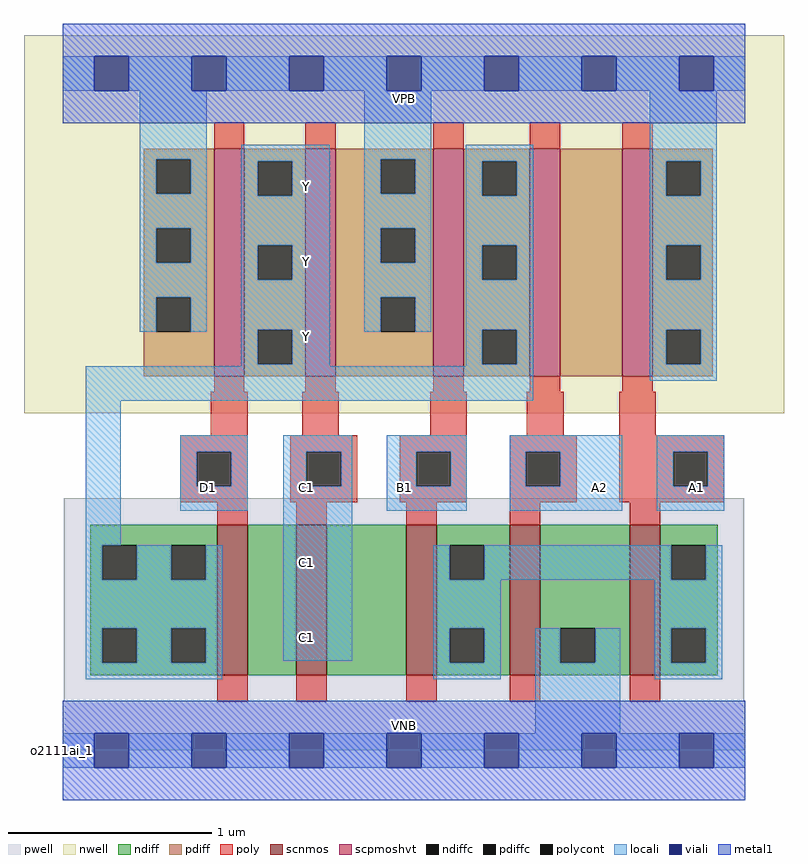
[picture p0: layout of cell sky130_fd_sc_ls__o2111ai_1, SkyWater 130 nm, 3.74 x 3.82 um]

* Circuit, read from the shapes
.subckt sky130_fd_sc_ls__o2111ai_1 A1 A2 B1 C1 D1 VGND VNB VPB VPWR Y
XM1 n1 D1 Y VNB sky130_fd_pr__nfet_01v8 w=0.74 l=0.15
XM2 n2 C1 n1 VNB sky130_fd_pr__nfet_01v8 w=0.74 l=0.15
XM3 n3 B1 n2 VNB sky130_fd_pr__nfet_01v8 w=0.74 l=0.15
XM4 VGND A2 n3 VNB sky130_fd_pr__nfet_01v8 w=0.74 l=0.15
XM5 n3 A1 VGND VNB sky130_fd_pr__nfet_01v8 w=0.74 l=0.15
XM6 Y D1 VPWR VPB sky130_fd_pr__pfet_01v8_hvt w=1.12 l=0.15
XM7 VPWR C1 Y VPB sky130_fd_pr__pfet_01v8_hvt w=1.12 l=0.15
XM8 Y B1 VPWR VPB sky130_fd_pr__pfet_01v8_hvt w=1.12 l=0.15
XM9 n4 A2 Y VPB sky130_fd_pr__pfet_01v8_hvt w=1.12 l=0.15
XM10 VPWR A1 n4 VPB sky130_fd_pr__pfet_01v8_hvt w=1.12 l=0.15
.ends

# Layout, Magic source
magic
tech sky130A
magscale 1 2
<< nwell >>
rect -38 332 710 704
<< pwell >>
rect 1 49 671 248
rect 0 0 672 49
<< scnmos >>
rect 152 74 182 222
rect 230 74 260 222
rect 338 74 368 222
rect 440 74 470 222
rect 558 74 588 222
<< scpmoshvt >>
rect 149 368 179 592
rect 239 368 269 592
rect 365 368 395 592
rect 460 368 490 592
rect 551 368 581 592
<< ndiff >>
rect 27 202 152 222
rect 27 168 39 202
rect 73 168 107 202
rect 141 168 152 202
rect 27 120 152 168
rect 27 86 39 120
rect 73 86 107 120
rect 141 86 152 120
rect 27 74 152 86
rect 182 74 230 222
rect 260 74 338 222
rect 368 202 440 222
rect 368 168 381 202
rect 415 168 440 202
rect 368 120 440 168
rect 368 86 381 120
rect 415 86 440 120
rect 368 74 440 86
rect 470 120 558 222
rect 470 86 490 120
rect 524 86 558 120
rect 470 74 558 86
rect 588 202 645 222
rect 588 168 599 202
rect 633 168 645 202
rect 588 120 645 168
rect 588 86 599 120
rect 633 86 645 120
rect 588 74 645 86
<< pdiff >>
rect 80 582 149 592
rect 80 548 92 582
rect 126 548 149 582
rect 80 514 149 548
rect 80 480 92 514
rect 126 480 149 514
rect 80 446 149 480
rect 80 412 92 446
rect 126 412 149 446
rect 80 368 149 412
rect 179 580 239 592
rect 179 546 192 580
rect 226 546 239 580
rect 179 497 239 546
rect 179 463 192 497
rect 226 463 239 497
rect 179 414 239 463
rect 179 380 192 414
rect 226 380 239 414
rect 179 368 239 380
rect 269 582 365 592
rect 269 548 313 582
rect 347 548 365 582
rect 269 514 365 548
rect 269 480 313 514
rect 347 480 365 514
rect 269 446 365 480
rect 269 412 313 446
rect 347 412 365 446
rect 269 368 365 412
rect 395 580 460 592
rect 395 546 413 580
rect 447 546 460 580
rect 395 497 460 546
rect 395 463 413 497
rect 447 463 460 497
rect 395 414 460 463
rect 395 380 413 414
rect 447 380 460 414
rect 395 368 460 380
rect 490 368 551 592
rect 581 580 640 592
rect 581 546 594 580
rect 628 546 640 580
rect 581 497 640 546
rect 581 463 594 497
rect 628 463 640 497
rect 581 414 640 463
rect 581 380 594 414
rect 628 380 640 414
rect 581 368 640 380
<< ndiffc >>
rect 39 168 73 202
rect 107 168 141 202
rect 39 86 73 120
rect 107 86 141 120
rect 381 168 415 202
rect 381 86 415 120
rect 490 86 524 120
rect 599 168 633 202
rect 599 86 633 120
<< pdiffc >>
rect 92 548 126 582
rect 92 480 126 514
rect 92 412 126 446
rect 192 546 226 580
rect 192 463 226 497
rect 192 380 226 414
rect 313 548 347 582
rect 313 480 347 514
rect 313 412 347 446
rect 413 546 447 580
rect 413 463 447 497
rect 413 380 447 414
rect 594 546 628 580
rect 594 463 628 497
rect 594 380 628 414
<< poly >>
rect 149 592 179 618
rect 239 592 269 618
rect 365 592 395 618
rect 460 592 490 618
rect 551 592 581 618
rect 149 353 179 368
rect 239 353 269 368
rect 365 353 395 368
rect 460 353 490 368
rect 551 353 581 368
rect 146 310 182 353
rect 236 310 272 353
rect 362 310 398 353
rect 457 310 493 353
rect 548 310 584 353
rect 116 294 182 310
rect 116 260 132 294
rect 166 260 182 294
rect 116 244 182 260
rect 224 294 290 310
rect 224 260 240 294
rect 274 260 290 294
rect 224 244 290 260
rect 332 294 398 310
rect 332 260 348 294
rect 382 260 398 294
rect 332 244 398 260
rect 440 294 506 310
rect 440 260 456 294
rect 490 260 506 294
rect 440 244 506 260
rect 548 294 651 310
rect 548 260 601 294
rect 635 260 651 294
rect 548 244 651 260
rect 152 222 182 244
rect 230 222 260 244
rect 338 222 368 244
rect 440 222 470 244
rect 558 222 588 244
rect 152 48 182 74
rect 230 48 260 74
rect 338 48 368 74
rect 440 48 470 74
rect 558 48 588 74
<< polycont >>
rect 132 260 166 294
rect 240 260 274 294
rect 348 260 382 294
rect 456 260 490 294
rect 601 260 635 294
<< locali >>
rect 0 649 31 683
rect 65 649 127 683
rect 161 649 223 683
rect 257 649 319 683
rect 353 649 415 683
rect 449 649 511 683
rect 545 649 607 683
rect 641 649 672 683
rect 76 582 142 649
rect 76 548 92 582
rect 126 548 142 582
rect 76 514 142 548
rect 76 480 92 514
rect 126 480 142 514
rect 76 446 142 480
rect 76 412 92 446
rect 126 412 142 446
rect 176 580 263 596
rect 176 546 192 580
rect 226 546 263 580
rect 176 497 263 546
rect 176 463 192 497
rect 226 463 263 497
rect 176 414 263 463
rect 176 380 192 414
rect 226 380 263 414
rect 297 582 363 649
rect 297 548 313 582
rect 347 548 363 582
rect 297 514 363 548
rect 297 480 313 514
rect 347 480 363 514
rect 297 446 363 480
rect 297 412 313 446
rect 347 412 363 446
rect 397 580 463 596
rect 397 546 413 580
rect 447 546 463 580
rect 397 497 463 546
rect 397 463 413 497
rect 447 463 463 497
rect 397 414 463 463
rect 176 378 263 380
rect 397 380 413 414
rect 447 380 463 414
rect 397 378 463 380
rect 23 344 463 378
rect 578 580 644 649
rect 578 546 594 580
rect 628 546 644 580
rect 578 497 644 546
rect 578 463 594 497
rect 628 463 644 497
rect 578 414 644 463
rect 578 380 594 414
rect 628 380 644 414
rect 578 364 644 380
rect 23 202 57 344
rect 116 294 182 310
rect 116 260 132 294
rect 166 260 182 294
rect 116 236 182 260
rect 217 294 285 310
rect 217 260 240 294
rect 274 260 285 294
rect 23 168 39 202
rect 73 168 107 202
rect 141 168 157 202
rect 23 120 157 168
rect 23 86 39 120
rect 73 86 107 120
rect 141 86 157 120
rect 217 88 285 260
rect 319 294 398 310
rect 319 260 348 294
rect 382 260 398 294
rect 319 236 398 260
rect 440 294 551 310
rect 440 260 456 294
rect 490 260 551 294
rect 440 236 551 260
rect 585 294 651 310
rect 585 260 601 294
rect 635 260 651 294
rect 585 236 651 260
rect 365 168 381 202
rect 415 168 599 202
rect 633 168 649 202
rect 365 120 431 168
rect 583 120 649 168
rect 23 70 157 86
rect 365 86 381 120
rect 415 86 431 120
rect 365 70 431 86
rect 465 86 490 120
rect 524 86 549 120
rect 465 17 549 86
rect 583 86 599 120
rect 633 86 649 120
rect 583 70 649 86
rect 0 -17 31 17
rect 65 -17 127 17
rect 161 -17 223 17
rect 257 -17 319 17
rect 353 -17 415 17
rect 449 -17 511 17
rect 545 -17 607 17
rect 641 -17 672 17
<< viali >>
rect 31 649 65 683
rect 127 649 161 683
rect 223 649 257 683
rect 319 649 353 683
rect 415 649 449 683
rect 511 649 545 683
rect 607 649 641 683
rect 31 -17 65 17
rect 127 -17 161 17
rect 223 -17 257 17
rect 319 -17 353 17
rect 415 -17 449 17
rect 511 -17 545 17
rect 607 -17 641 17
<< metal1 >>
rect 0 683 672 715
rect 0 649 31 683
rect 65 649 127 683
rect 161 649 223 683
rect 257 649 319 683
rect 353 649 415 683
rect 449 649 511 683
rect 545 649 607 683
rect 641 649 672 683
rect 0 617 672 649
rect 0 17 672 49
rect 0 -17 31 17
rect 65 -17 127 17
rect 161 -17 223 17
rect 257 -17 319 17
rect 353 -17 415 17
rect 449 -17 511 17
rect 545 -17 607 17
rect 641 -17 672 17
rect 0 -49 672 -17
<< labels >>
rlabel comment s 0 0 0 0 4 o2111ai_1
flabel pwell s 0 0 672 49 0 FreeSans 200 0 0 0 VNB
port 7 nsew ground bidirectional
flabel nwell s 0 617 672 666 0 FreeSans 200 0 0 0 VPB
port 8 nsew power bidirectional
flabel metal1 s 0 617 672 666 0 FreeSans 340 0 0 0 VPWR
port 9 nsew power bidirectional abutment
flabel metal1 s 0 0 672 49 0 FreeSans 340 0 0 0 VGND
port 6 nsew ground bidirectional abutment
flabel locali s 223 390 257 424 0 FreeSans 340 0 0 0 Y
port 10 nsew signal output
flabel locali s 223 464 257 498 0 FreeSans 340 0 0 0 Y
port 10 nsew signal output
flabel locali s 223 538 257 572 0 FreeSans 340 0 0 0 Y
port 10 nsew signal output
flabel locali s 127 242 161 276 0 FreeSans 340 0 0 0 D1
port 5 nsew signal input
flabel locali s 223 94 257 128 0 FreeSans 340 0 0 0 C1
port 4 nsew signal input
flabel locali s 223 168 257 202 0 FreeSans 340 0 0 0 C1
port 4 nsew signal input
flabel locali s 223 242 257 276 0 FreeSans 340 0 0 0 C1
port 4 nsew signal input
flabel locali s 319 242 353 276 0 FreeSans 340 0 0 0 B1
port 3 nsew signal input
flabel locali s 511 242 545 276 0 FreeSans 340 0 0 0 A2
port 2 nsew signal input
flabel locali s 607 242 641 276 0 FreeSans 340 0 0 0 A1
port 1 nsew signal input
<< properties >>
string LEFsite unit
string LEFclass CORE
string FIXED_BBOX 0 0 672 666
string GDS_FILE $PDKPATH/libs.ref/sky130_fd_sc_ls/gds/sky130_fd_sc_ls.gds
string LEFsymmetry X Y
string GDS_END 2511358
string GDS_START 2504498
<< end >>
